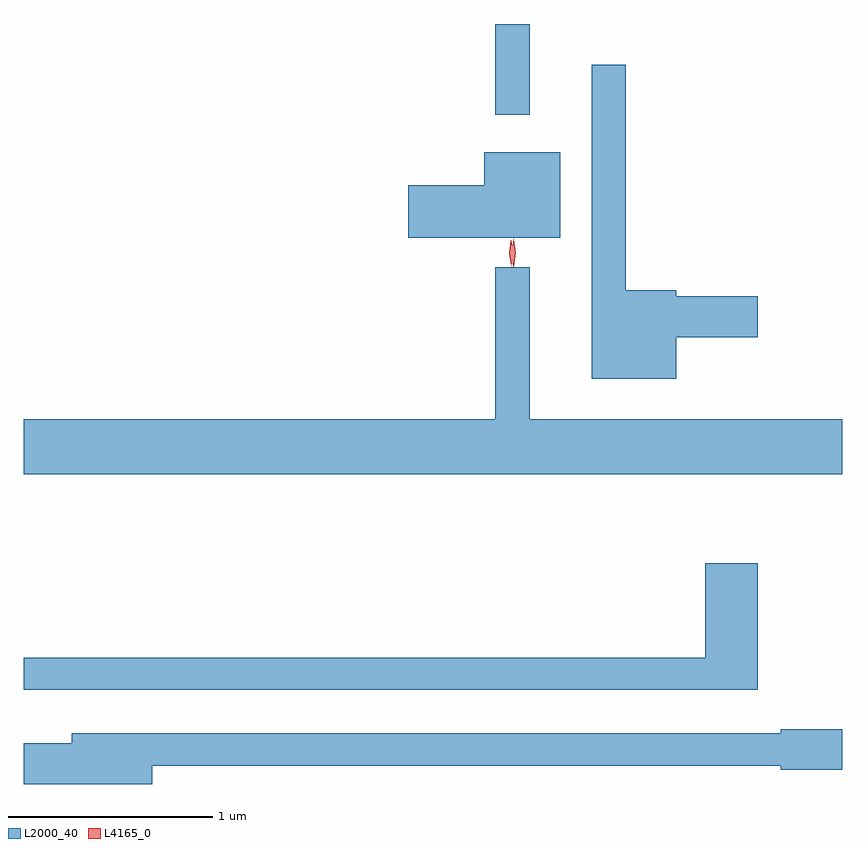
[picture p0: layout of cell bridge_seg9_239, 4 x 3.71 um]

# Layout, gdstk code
import gdstk
lib = gdstk.Library(unit=1e-6, precision=1e-09)
def R(c, l, rs):  # rectangles x0, y0, x1, y1
    for r in rs: c.add(gdstk.rectangle(r[:2], r[2:], *l))
def P(c, l, *ps):  # polygons
    for p in ps: c.add(gdstk.Polygon(p, *l))
L2000_40 = (2000, 40)
L4165_0 = (4165, 0)

bridge_seg9_239 = lib.new_cell('bridge_seg9_239')
R(bridge_seg9_239, L2000_40, [(1337.191,1951.393,1337.359,1951.836)])
P(bridge_seg9_239, L2000_40, [(1338.074,1950.306),(1338.474,1950.306),(1338.474,1950.504),(1338.074,1950.504),(1338.074,1950.534),(1337.829,1950.534),(1337.829,1951.638),(1337.661,1951.638),(1337.661,1950.101),(1338.074,1950.101)],
  [(1337.509,1951.209),(1337.136,1951.209),(1337.136,1951.049),(1336.766,1951.049),(1336.766,1950.791),(1337.509,1950.791)],
  [(1338.886,1949.904),(1337.359,1949.904),(1337.359,1950.648),(1337.191,1950.648),(1337.191,1949.904),(1334.886,1949.904),(1334.886,1949.636),(1338.886,1949.636)],
  [(1338.474,1949.199),(1338.216,1949.199),(1338.216,1948.739),(1334.886,1948.739),(1334.886,1948.581),(1338.474,1948.581)],
  [(1335.514,1948.211),(1338.586,1948.211),(1338.586,1948.191),(1338.886,1948.191),(1338.886,1948.389),(1338.586,1948.389),(1338.586,1948.369),(1335.121,1948.369),(1335.121,1948.319),(1334.886,1948.319),(1334.886,1948.121),(1335.514,1948.121)])
P(bridge_seg9_239, L4165_0, [(1337.278,1950.65),(1337.27,1950.718),(1337.28,1950.785),(1337.28,1950.786),(1337.281,1950.785),(1337.29,1950.718),(1337.28,1950.65),(1337.279,1950.65)],
  [(1337.269,1950.653),(1337.268,1950.654),(1337.258,1950.716),(1337.267,1950.779),(1337.267,1950.78),(1337.268,1950.779),(1337.278,1950.716),(1337.269,1950.654)])

lib.write_gds('bridge_seg9_239.gds')
